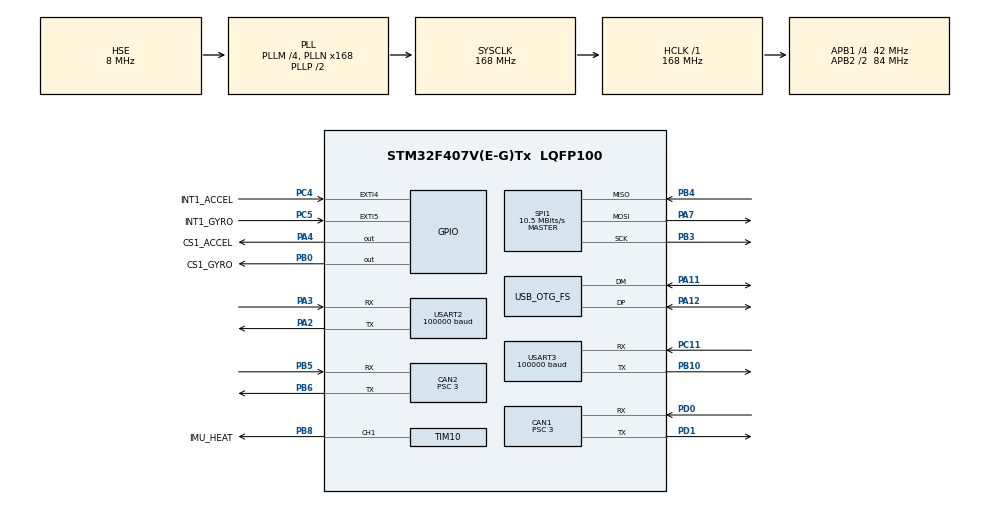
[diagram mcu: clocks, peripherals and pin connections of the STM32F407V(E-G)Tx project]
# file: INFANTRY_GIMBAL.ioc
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CAN1.ABOM=ENABLE
CAN1.AWUM=ENABLE
CAN1.BS1=CAN_BS1_10TQ
CAN1.BS2=CAN_BS2_3TQ
CAN1.CalculateBaudRate=1000000
CAN1.CalculateTimeBit=1000
CAN1.CalculateTimeQuantum=71.42857142857143
CAN1.Prescaler=3
CAN2.ABOM=ENABLE
CAN2.AWUM=ENABLE
CAN2.BS1=CAN_BS1_10TQ
CAN2.BS2=CAN_BS2_3TQ
CAN2.CalculateBaudRate=1000000
CAN2.CalculateTimeBit=1000
CAN2.CalculateTimeQuantum=71.42857142857143
CAN2.Prescaler=3
Dma.Request0=USART3_RX
Dma.Request1=SPI1_RX
Dma.Request2=SPI1_TX
Dma.Request3=USART2_RX
Dma.SPI1_RX.1.Direction=DMA_PERIPH_TO_MEMORY
Dma.SPI1_RX.1.FIFOMode=DMA_FIFOMODE_DISABLE
Dma.SPI1_RX.1.Instance=DMA2_Stream2
Dma.SPI1_RX.1.MemDataAlignment=DMA_MDATAALIGN_BYTE
Dma.SPI1_RX.1.MemInc=DMA_MINC_ENABLE
Dma.SPI1_RX.1.Mode=DMA_NORMAL
Dma.SPI1_RX.1.PeriphDataAlignment=DMA_PDATAALIGN_BYTE
Dma.SPI1_RX.1.PeriphInc=DMA_PINC_DISABLE
Dma.SPI1_RX.1.Priority=DMA_PRIORITY_VERY_HIGH
Dma.SPI1_TX.2.Direction=DMA_MEMORY_TO_PERIPH
Dma.SPI1_TX.2.FIFOMode=DMA_FIFOMODE_DISABLE
Dma.SPI1_TX.2.Instance=DMA2_Stream3
Dma.SPI1_TX.2.MemDataAlignment=DMA_MDATAALIGN_BYTE
Dma.SPI1_TX.2.MemInc=DMA_MINC_ENABLE
Dma.SPI1_TX.2.Mode=DMA_NORMAL
Dma.SPI1_TX.2.PeriphDataAlignment=DMA_PDATAALIGN_BYTE
Dma.SPI1_TX.2.PeriphInc=DMA_PINC_DISABLE
Dma.SPI1_TX.2.Priority=DMA_PRIORITY_VERY_HIGH
Dma.USART2_RX.3.Direction=DMA_PERIPH_TO_MEMORY
Dma.USART2_RX.3.FIFOMode=DMA_FIFOMODE_DISABLE
Dma.USART2_RX.3.Instance=DMA1_Stream5
Dma.USART2_RX.3.MemDataAlignment=DMA_MDATAALIGN_BYTE
Dma.USART2_RX.3.MemInc=DMA_MINC_ENABLE
Dma.USART2_RX.3.Mode=DMA_NORMAL
Dma.USART2_RX.3.PeriphDataAlignment=DMA_PDATAALIGN_BYTE
Dma.USART2_RX.3.PeriphInc=DMA_PINC_DISABLE
Dma.USART2_RX.3.Priority=DMA_PRIORITY_LOW
Dma.USART3_RX.0.Direction=DMA_PERIPH_TO_MEMORY
Dma.USART3_RX.0.FIFOMode=DMA_FIFOMODE_DISABLE
Dma.USART3_RX.0.Instance=DMA1_Stream1
Dma.USART3_RX.0.MemDataAlignment=DMA_MDATAALIGN_BYTE
Dma.USART3_RX.0.MemInc=DMA_MINC_ENABLE
Dma.USART3_RX.0.Mode=DMA_CIRCULAR
Dma.USART3_RX.0.PeriphDataAlignment=DMA_PDATAALIGN_BYTE
Dma.USART3_RX.0.PeriphInc=DMA_PINC_DISABLE
Dma.USART3_RX.0.Priority=DMA_PRIORITY_VERY_HIGH
FREERTOS.Tasks01=defaultTask,0,128,StartDefaultTask,Default,NULL,Dynamic,NULL,NULL;gimbal_task,-3,1024,Gimbal_Task,As external,NULL,Dynamic,NULL,NULL;imu_task,-3,512,IMU_Task,As external,NULL,Dynamic,NULL,NULL;fire_task,-3,512,Fire_Task,As external,NULL,Dynamic,NULL,NULL;virtual_task,-3,512,Virtual_Task,As external,NULL,Dynamic,NULL,NULL
Mcu.Family=STM32F4
Mcu.Name=STM32F407V(E-G)Tx
Mcu.Package=LQFP100
NVIC.CAN1_RX0_IRQn=true\:5\:0\:false\:false\:true\:true\:true\:true\:true
NVIC.CAN2_RX0_IRQn=true\:5\:0\:false\:false\:true\:true\:true\:true\:true
NVIC.DMA1_Stream1_IRQn=true\:5\:0\:false\:false\:true\:true\:false\:true\:true
NVIC.DMA1_Stream5_IRQn=true\:5\:0\:false\:false\:true\:true\:false\:true\:true
NVIC.DMA2_Stream2_IRQn=true\:5\:0\:false\:false\:true\:true\:false\:true\:true
NVIC.DMA2_Stream3_IRQn=true\:5\:0\:false\:false\:true\:true\:false\:true\:true
NVIC.OTG_FS_IRQn=true\:5\:0\:false\:false\:true\:true\:true\:true\:true
NVIC.PriorityGroup=NVIC_PRIORITYGROUP_4
NVIC.TIM1_UP_TIM10_IRQn=true\:15\:0\:false\:false\:true\:false\:false\:true\:true
NVIC.TimeBase=TIM1_UP_TIM10_IRQn
NVIC.TimeBaseIP=TIM1
NVIC.USART2_IRQn=true\:5\:0\:false\:false\:true\:true\:true\:true\:true
NVIC.USART3_IRQn=true\:5\:0\:false\:false\:true\:true\:true\:true\:true
PA11.Mode=Device_Only
PA11.Signal=USB_OTG_FS_DM
PA12.Mode=Device_Only
PA12.Signal=USB_OTG_FS_DP
PA13.Mode=Serial_Wire
PA13.Signal=SYS_JTMS-SWDIO
PA14.Mode=Serial_Wire
PA14.Signal=SYS_JTCK-SWCLK
PA2.Mode=Asynchronous
PA2.Signal=USART2_TX
PA3.Mode=Asynchronous
PA3.Signal=USART2_RX
PA4.GPIO_Label=CS1_ACCEL
PA4.GPIO_ModeDefaultOutputPP=GPIO_MODE_OUTPUT_PP
PA4.GPIO_PuPd=GPIO_PULLUP
PA4.GPIO_Speed=GPIO_SPEED_FREQ_HIGH
PA4.PinState=GPIO_PIN_SET
PA4.Signal=GPIO_Output
PA7.GPIO_PuPd=GPIO_PULLUP
PA7.Mode=Full_Duplex_Master
PA7.Signal=SPI1_MOSI
PB0.GPIO_Label=CS1_GYRO
PB0.GPIO_ModeDefaultOutputPP=GPIO_MODE_OUTPUT_PP
PB0.GPIO_PuPd=GPIO_PULLUP
PB0.GPIO_Speed=GPIO_SPEED_FREQ_HIGH
PB0.PinState=GPIO_PIN_SET
PB0.Signal=GPIO_Output
PB10.Mode=Asynchronous
PB10.Signal=USART3_TX
PB3.GPIO_PuPd=GPIO_PULLUP
PB3.Mode=Full_Duplex_Master
PB3.Signal=SPI1_SCK
PB4.GPIO_PuPd=GPIO_PULLUP
PB4.Mode=Full_Duplex_Master
PB4.Signal=SPI1_MISO
PB5.Mode=CAN_Activate
PB5.Signal=CAN2_RX
PB6.Mode=CAN_Activate
PB6.Signal=CAN2_TX
PB8.GPIO_Label=IMU_HEAT
PB8.GPIO_PuPd=GPIO_PULLUP
PB8.GPIO_Speed=GPIO_SPEED_FREQ_HIGH
PB8.Signal=S_TIM10_CH1
PC11.Mode=Asynchronous
PC11.Signal=USART3_RX
PC4.GPIO_Label=INT1_ACCEL
PC4.GPIO_ModeDefaultEXTI=GPIO_MODE_IT_FALLING
PC4.GPIO_PuPd=GPIO_PULLUP
PC4.Signal=GPXTI4
PC5.GPIO_Label=INT1_GYRO
PC5.GPIO_ModeDefaultEXTI=GPIO_MODE_IT_FALLING
PC5.GPIO_PuPd=GPIO_PULLUP
PC5.Signal=GPXTI5
PD0.Mode=CAN_Activate
PD0.Signal=CAN1_RX
PD1.Mode=CAN_Activate
PD1.Signal=CAN1_TX
PH0-OSC_IN.Mode=HSE-External-Oscillator
PH0-OSC_IN.Signal=RCC_OSC_IN
PH1-OSC_OUT.Mode=HSE-External-Oscillator
PH1-OSC_OUT.Signal=RCC_OSC_OUT
ProjectManager.HeapSize=0x2000
ProjectManager.StackSize=0x2000
ProjectManager.TargetToolchain=MDK-ARM V5.32
RCC.48MHZClocksFreq_Value=48000000
RCC.AHBFreq_Value=168000000
RCC.APB1CLKDivider=RCC_HCLK_DIV4
RCC.APB1Freq_Value=42000000
RCC.APB1TimFreq_Value=84000000
RCC.APB2CLKDivider=RCC_HCLK_DIV2
RCC.APB2Freq_Value=84000000
RCC.APB2TimFreq_Value=168000000
RCC.CortexFreq_Value=168000000
RCC.HCLKFreq_Value=168000000
RCC.HSE_VALUE=8000000
RCC.HSI_VALUE=16000000
RCC.LSE_VALUE=32768
RCC.PLLM=4
RCC.PLLN=168
RCC.PLLQ=7
RCC.SYSCLKFreq_VALUE=168000000
RCC.SYSCLKSource=RCC_SYSCLKSOURCE_PLLCLK
RCC.VCOOutputFreq_Value=336000000
SH.S_TIM10_CH1.0=TIM10_CH1,PWM Generation1 CH1
SPI1.BaudRatePrescaler=SPI_BAUDRATEPRESCALER_8
SPI1.CLKPhase=SPI_PHASE_2EDGE
SPI1.CLKPolarity=SPI_POLARITY_HIGH
SPI1.CalculateBaudRate=10.5 MBits/s
SPI1.Direction=SPI_DIRECTION_2LINES
SPI1.Mode=SPI_MODE_MASTER
SPI1.VirtualType=VM_MASTER
TIM10.Channel=TIM_CHANNEL_1
USART2.BaudRate=100000
USART2.VirtualMode=VM_ASYNC
USART3.BaudRate=100000
USART3.Mode=MODE_RX
USART3.Parity=PARITY_EVEN
USART3.VirtualMode=VM_ASYNC
USB_DEVICE.CLASS_NAME_FS=CDC
USB_DEVICE.VirtualMode-CDC_FS=Cdc
USB_DEVICE.VirtualModeFS=Cdc_FS
USB_OTG_FS.VirtualMode=Device_Only
VP_FREERTOS_VS_CMSIS_V1.Mode=CMSIS_V1
VP_SYS_VS_tim1.Mode=TIM1
VP_TIM10_VS_ClockSourceINT.Mode=Enable_Timer
VP_USB_DEVICE_VS_USB_DEVICE_CDC_FS.Mode=CDC_FS
board=custom

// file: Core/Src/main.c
/* USER CODE BEGIN Header */
/**
  ******************************************************************************
  * @file           : main.c
  * @brief          : Main program body
  ******************************************************************************
  * @attention
  *
  * Copyright (c) 2024 STMicroelectronics.
  * All rights reserved.
  *
  * This software is licensed under terms that can be found in the LICENSE file
  * in the root directory of this software component.
  * If no LICENSE file comes with this software, it is provided AS-IS.
  *
  ******************************************************************************
  */
/* USER CODE END Header */
#include "main.h"
#include "cmsis_os.h"
#include "can.h"
#include "dma.h"
#include "spi.h"
#include "tim.h"
#include "usart.h"
#include "usb_device.h"
#include "gpio.h"

/* USER CODE BEGIN Includes */
#include "bsp_dr16.h"
#include "bsp_can.h"
#include "bsp_dwt.h"
#include "imu_task.h"
/* USER CODE END Includes */

void SystemClock_Config(void);
void MX_FREERTOS_Init(void);

int main(void)
{

  /* MCU Configuration--------------------------------------------------------*/

  /* Reset of all peripherals, Initializes the Flash interface and the Systick. */
  HAL_Init();

  /* Configure the system clock */
  SystemClock_Config();

  /* Initialize all configured peripherals */
  MX_GPIO_Init();
  MX_DMA_Init();
  MX_USART3_UART_Init();
  MX_CAN1_Init();
  MX_CAN2_Init();
  MX_SPI1_Init();
  MX_TIM10_Init();
  MX_USART2_UART_Init();
  /* USER CODE BEGIN 2 */
  ECF_RC_Init();
  ECF_CAN_Init();
  DWT_Init(168);
  while (BMI088_init(&hspi1, 1) != BMI088_NO_ERROR)
      ;
  MX_USB_DEVICE_Init();
  /* USER CODE END 2 */

  /* Call init function for freertos objects (in freertos.c) */
  MX_FREERTOS_Init();

  /* Start scheduler */
  osKernelStart();

  /* We should never get here as control is now taken by the scheduler */
  /* Infinite loop */
  while (1)
  {

  }
}

void SystemClock_Config(void)
{
  RCC_OscInitTypeDef RCC_OscInitStruct = {0};
  RCC_ClkInitTypeDef RCC_ClkInitStruct = {0};

  /** Configure the main internal regulator output voltage
  */
  __HAL_RCC_PWR_CLK_ENABLE();
  __HAL_PWR_VOLTAGESCALING_CONFIG(PWR_REGULATOR_VOLTAGE_SCALE1);

  /** Initializes the RCC Oscillators according to the specified parameters
  * in the RCC_OscInitTypeDef structure.
  */
  RCC_OscInitStruct.OscillatorType = RCC_OSCILLATORTYPE_HSE;
  RCC_OscInitStruct.HSEState = RCC_HSE_ON;
  RCC_OscInitStruct.PLL.PLLState = RCC_PLL_ON;
  RCC_OscInitStruct.PLL.PLLSource = RCC_PLLSOURCE_HSE;
  RCC_OscInitStruct.PLL.PLLM = 4;
  RCC_OscInitStruct.PLL.PLLN = 168;
  RCC_OscInitStruct.PLL.PLLP = RCC_PLLP_DIV2;
  RCC_OscInitStruct.PLL.PLLQ = 7;
  if (HAL_RCC_OscConfig(&RCC_OscInitStruct) != HAL_OK)
  {
    Error_Handler();
  }

  /** Initializes the CPU, AHB and APB buses clocks
  */
  RCC_ClkInitStruct.ClockType = RCC_CLOCKTYPE_HCLK|RCC_CLOCKTYPE_SYSCLK
                              |RCC_CLOCKTYPE_PCLK1|RCC_CLOCKTYPE_PCLK2;
  RCC_ClkInitStruct.SYSCLKSource = RCC_SYSCLKSOURCE_PLLCLK;
  RCC_ClkInitStruct.AHBCLKDivider = RCC_SYSCLK_DIV1;
  RCC_ClkInitStruct.APB1CLKDivider = RCC_HCLK_DIV4;
  RCC_ClkInitStruct.APB2CLKDivider = RCC_HCLK_DIV2;

  if (HAL_RCC_ClockConfig(&RCC_ClkInitStruct, FLASH_LATENCY_5) != HAL_OK)
  {
    Error_Handler();
  }
}

void HAL_TIM_PeriodElapsedCallback(TIM_HandleTypeDef *htim)
{
  if (htim->Instance == TIM1) {
    HAL_IncTick();
  }
}

void Error_Handler(void)
{
  __disable_irq();
  while (1)
  {
  }
}

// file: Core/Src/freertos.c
/* USER CODE BEGIN Header */
/**
  ******************************************************************************
  * File Name          : freertos.c
  * Description        : Code for freertos applications
  ******************************************************************************
  * @attention
  *
  * Copyright (c) 2024 STMicroelectronics.
  * All rights reserved.
  *
  * This software is licensed under terms that can be found in the LICENSE file
  * in the root directory of this software component.
  * If no LICENSE file comes with this software, it is provided AS-IS.
  *
  ******************************************************************************
  */
/* USER CODE END Header */

#include "FreeRTOS.h"
#include "task.h"
#include "main.h"
#include "cmsis_os.h"

/* USER CODE BEGIN Includes */
#include "imu_task.h"
#include "fire_task.h"
#include "gimbal_task.h"
#include "virtual_task.h"
#include "safe_task.h"
/* USER CODE END Includes */

/* USER CODE BEGIN Variables */
osThreadId safe_taskHandle;
/* USER CODE END Variables */
osThreadId defaultTaskHandle;
osThreadId gimbal_taskHandle;
osThreadId imu_taskHandle;
osThreadId fire_taskHandle;
osThreadId virtual_taskHandle;

/* USER CODE BEGIN FunctionPrototypes */
extern void Safe_Task(void const *argument);
/* USER CODE END FunctionPrototypes */

void StartDefaultTask(void const * argument);
extern void Gimbal_Task(void const * argument);
extern void IMU_Task(void const * argument);
extern void Fire_Task(void const * argument);
extern void Virtual_Task(void const * argument);

extern void MX_USB_DEVICE_Init(void);
void MX_FREERTOS_Init(void); /* (MISRA C 2004 rule 8.1) */

/* GetIdleTaskMemory prototype (linked to static allocation support) */
void vApplicationGetIdleTaskMemory( StaticTask_t **ppxIdleTaskTCBBuffer, StackType_t **ppxIdleTaskStackBuffer, uint32_t *pulIdleTaskStackSize );

/* USER CODE BEGIN GET_IDLE_TASK_MEMORY */
static StaticTask_t xIdleTaskTCBBuffer;
static StackType_t xIdleStack[configMINIMAL_STACK_SIZE];

void vApplicationGetIdleTaskMemory( StaticTask_t **ppxIdleTaskTCBBuffer, StackType_t **ppxIdleTaskStackBuffer, uint32_t *pulIdleTaskStackSize )
{
  *ppxIdleTaskTCBBuffer = &xIdleTaskTCBBuffer;
  *ppxIdleTaskStackBuffer = &xIdleStack[0];
  *pulIdleTaskStackSize = configMINIMAL_STACK_SIZE;
  /* place for user code */
}
/* USER CODE END GET_IDLE_TASK_MEMORY */

void MX_FREERTOS_Init(void) {

  /* Create the thread(s) */
  /* definition and creation of defaultTask */
  osThreadDef(defaultTask, StartDefaultTask, osPriorityNormal, 0, 128);
  defaultTaskHandle = osThreadCreate(osThread(defaultTask), NULL);

  /* definition and creation of gimbal_task */
  osThreadDef(gimbal_task, Gimbal_Task, osPriorityIdle, 0, 1024);
  gimbal_taskHandle = osThreadCreate(osThread(gimbal_task), NULL);

  /* definition and creation of imu_task */
  osThreadDef(imu_task, IMU_Task, osPriorityIdle, 0, 512);
  imu_taskHandle = osThreadCreate(osThread(imu_task), NULL);

  /* definition and creation of fire_task */
  osThreadDef(fire_task, Fire_Task, osPriorityIdle, 0, 512);
  fire_taskHandle = osThreadCreate(osThread(fire_task), NULL);

  /* definition and creation of virtual_task */
  osThreadDef(virtual_task, Virtual_Task, osPriorityIdle, 0, 512);
  virtual_taskHandle = osThreadCreate(osThread(virtual_task), NULL);

  /* USER CODE BEGIN RTOS_THREADS */
  osThreadDef(SAFE_TASK, Safe_Task, osPriorityNormal, 0, 512);
  safe_taskHandle = osThreadCreate(osThread(SAFE_TASK), NULL);
  /* add threads, ... */
  /* USER CODE END RTOS_THREADS */

}

void StartDefaultTask(void const * argument)
{
  /* init code for USB_DEVICE */
  MX_USB_DEVICE_Init();
  for(;;)
  {
    osDelay(1);
  }
}
